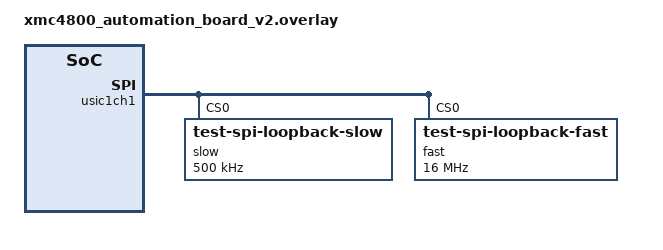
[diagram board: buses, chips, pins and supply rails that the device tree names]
/*
 * Copyright (c) 2022 Schlumberger
 *
 * SPDX-License-Identifier: Apache-2.0
 */

&spi_mosi_p0_1_u1c1 {
	drive-strength = "strong-soft-edge";
	hwctrl = "disabled";
};

&spi_miso_p0_0_u1c1 {
	drive-strength = "strong-soft-edge";
	hwctrl = "disabled";
};

&spi_sclk_p0_13_u1c1 {
	drive-strength = "strong-soft-edge";
	hwctrl = "disabled";
};

&usic1ch1{
	compatible = "infineon,xmc4xxx-spi";
	pinctrl-0 = <&spi_mosi_p0_1_u1c1 &spi_miso_p0_0_u1c1 &spi_sclk_p0_13_u1c1>;
	pinctrl-names = "default";
	miso-src = "DX0D";
	interrupts = <90 1>;
	interrupt-names = "rx";

	#address-cells = <1>;
	#size-cells = <0>;
	status = "okay";

	slow@0 {
		compatible = "test-spi-loopback-slow";
		reg = <0>;
		spi-max-frequency = <500000>;
	};
	fast@0 {
		compatible = "test-spi-loopback-fast";
		reg = <0>;
		spi-max-frequency = <16000000>;
	};
};
